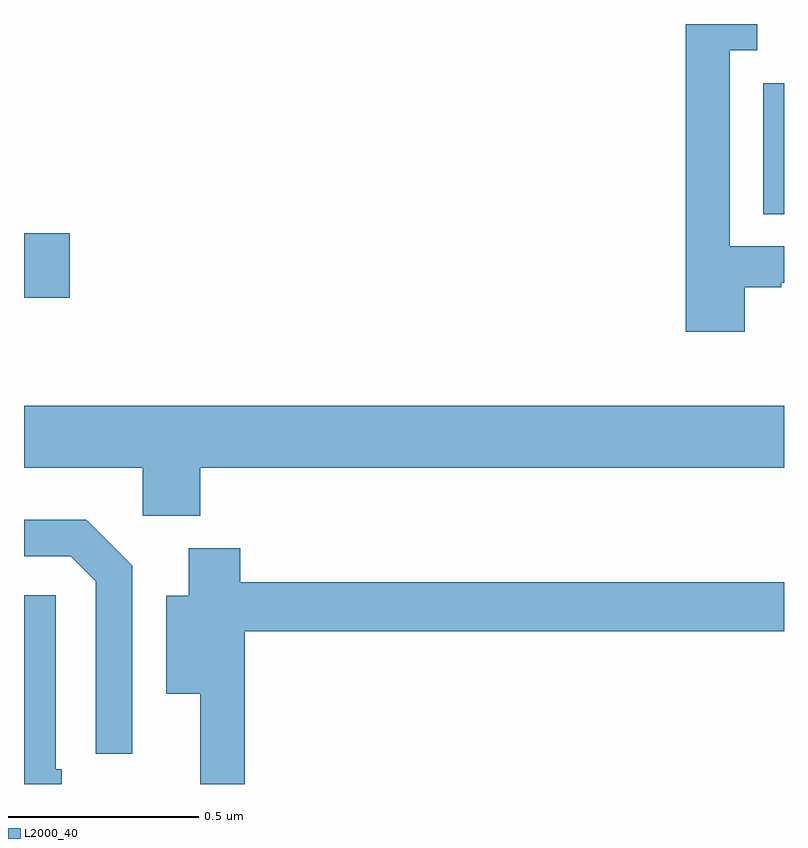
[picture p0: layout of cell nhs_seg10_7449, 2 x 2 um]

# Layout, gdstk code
import gdstk
lib = gdstk.Library(unit=1e-6, precision=1e-09)
def R(c, l, rs):  # rectangles x0, y0, x1, y1
    for r in rs: c.add(gdstk.rectangle(r[:2], r[2:], *l))
def P(c, l, *ps):  # polygons
    for p in ps: c.add(gdstk.Polygon(p, *l))
L2000_40 = (2000, 40)

nhs_seg10_7449 = lib.new_cell('nhs_seg10_7449')
R(nhs_seg10_7449, L2000_40, [(204,1284.779,204.121,1284.95), (205.946,1285,206,1285.344)])
P(nhs_seg10_7449, L2000_40, [(205.897,1284.807),(205.993,1284.807),(205.993,1284.819),(206,1284.819),(206,1284.915),(205.857,1284.915),(205.857,1285.431),(205.93,1285.431),(205.93,1285.5),(205.741,1285.5),(205.741,1284.69),(205.897,1284.69)],
  [(204.464,1284.332),(206,1284.332),(206,1284.496),(204,1284.496),(204,1284.332),(204.312,1284.332),(204.312,1284.206),(204.464,1284.206)],
  [(204.285,1284.075),(204.164,1284.196),(204,1284.196),(204,1284.099),(204.123,1284.099),(204.189,1284.033),(204.189,1283.58),(204.285,1283.58)],
  [(204.581,1283.902),(206,1283.902),(206,1284.031),(204.569,1284.031),(204.569,1284.121),(204.434,1284.121),(204.434,1283.995),(204.374,1283.995),(204.374,1283.738),(204.464,1283.738),(204.464,1283.5),(204.581,1283.5)],
  [(204.099,1283.539),(204.084,1283.539),(204.084,1283.997),(204,1283.997),(204,1283.5),(204.099,1283.5)])

lib.write_gds('nhs_seg10_7449.gds')
